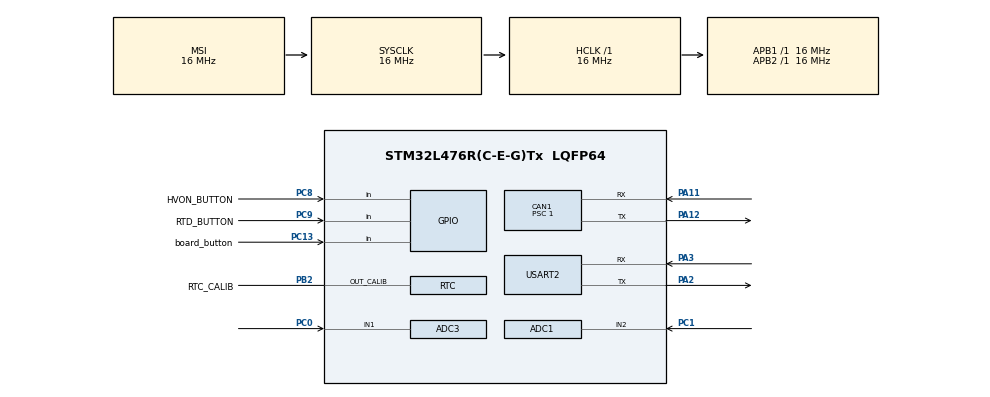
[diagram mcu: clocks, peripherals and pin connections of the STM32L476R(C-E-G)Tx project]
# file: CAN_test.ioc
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ADC1.Channel-0\#ChannelRegularConversion=ADC_CHANNEL_2
ADC1.NbrOfConversionFlag=1
ADC1.OffsetNumber-0\#ChannelRegularConversion=ADC_OFFSET_NONE
ADC1.Rank-0\#ChannelRegularConversion=1
ADC1.Resolution=ADC_RESOLUTION_8B
ADC1.SamplingTime-0\#ChannelRegularConversion=ADC_SAMPLETIME_2CYCLES_5
ADC1.master=1
ADC3.Channel-0\#ChannelRegularConversion=ADC_CHANNEL_1
ADC3.NbrOfConversionFlag=1
ADC3.OffsetNumber-0\#ChannelRegularConversion=ADC_OFFSET_NONE
ADC3.Rank-0\#ChannelRegularConversion=1
ADC3.Resolution=ADC_RESOLUTION_8B
ADC3.SamplingTime-0\#ChannelRegularConversion=ADC_SAMPLETIME_2CYCLES_5
CAN1.BS1=CAN_BS1_13TQ
CAN1.BS2=CAN_BS2_2TQ
CAN1.CalculateBaudRate=1000000
CAN1.CalculateTimeBit=1000.00
CAN1.CalculateTimeQuantum=62.5
CAN1.NART=ENABLE
CAN1.Prescaler=1
Mcu.Family=STM32L4
Mcu.Name=STM32L476R(C-E-G)Tx
Mcu.Package=LQFP64
NVIC.CAN1_RX0_IRQn=true\:0\:0\:false\:false\:true\:true\:true
NVIC.CAN1_RX1_IRQn=true\:0\:0\:false\:false\:true\:true\:true
NVIC.CAN1_SCE_IRQn=true\:0\:0\:false\:false\:true\:true\:true
NVIC.CAN1_TX_IRQn=true\:0\:0\:false\:false\:true\:true\:true
NVIC.PriorityGroup=NVIC_PRIORITYGROUP_4
NVIC.TIM3_IRQn=true\:0\:0\:false\:false\:true\:true\:true
PA11.Mode=CAN_Activate
PA11.Signal=CAN1_RX
PA12.Mode=CAN_Activate
PA12.Signal=CAN1_TX
PA2.Mode=Asynchronous
PA2.Signal=USART2_TX
PA3.Mode=Asynchronous
PA3.Signal=USART2_RX
PB2.GPIO_Label=RTC_CALIB
PB2.Mode=Calibration_512Hz
PB2.Signal=RTC_OUT_CALIB
PC0.Signal=ADCx_IN1
PC1.Signal=ADCx_IN2
PC13.GPIO_Label=board_button
PC13.GPIO_PuPd=GPIO_PULLUP
PC13.Signal=GPIO_Input
PC8.GPIO_Label=HVON_BUTTON
PC8.GPIO_PuPd=GPIO_PULLUP
PC8.Signal=GPIO_Input
PC9.GPIO_Label=RTD_BUTTON
PC9.GPIO_PuPd=GPIO_PULLUP
PC9.Signal=GPIO_Input
ProjectManager.HeapSize=0x200
ProjectManager.StackSize=0x400
ProjectManager.TargetToolchain=STM32CubeIDE
RCC.ADCFreq_Value=64000000
RCC.AHBFreq_Value=16000000
RCC.APB1Freq_Value=16000000
RCC.APB1TimFreq_Value=16000000
RCC.APB2Freq_Value=16000000
RCC.APB2TimFreq_Value=16000000
RCC.CortexFreq_Value=16000000
RCC.HCLKFreq_Value=16000000
RCC.HSE_VALUE=8000000
RCC.HSI_VALUE=16000000
RCC.LSE_VALUE=32768
RCC.MSIClockRange=RCC_MSIRANGE_8
RCC.MSI_VALUE=16000000
RCC.RCC_TIM_PRescaler_Selection=RCC_TIMPRES_DESACTIVATED
RCC.SYSCLKFreq_VALUE=16000000
RCC.USBFreq_Value=64000000
RCC.VCOOutputFreq_Value=128000000
SH.ADCx_IN1.0=ADC3_IN1,IN1-Single-Ended
SH.ADCx_IN2.0=ADC1_IN2,IN2-Single-Ended
TIM3.Channel-Output\ Compare1\ No\ Output=TIM_CHANNEL_1
USART2.VirtualMode-Asynchronous=VM_ASYNC
VP_RTC_VS_RTC_Activate.Mode=RTC_Enabled
VP_TIM3_VS_no_output1.Mode=Output Compare1 No Output
board=custom

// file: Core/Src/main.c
/* USER CODE BEGIN Header */
/**
  ******************************************************************************
  * @file           : main.c
  * @brief          : Main program body
  ******************************************************************************
  * @attention
  *
  * <h2><center>&copy; Copyright (c) 2021 STMicroelectronics.
  * All rights reserved.</center></h2>
  *
  * This software component is licensed by ST under BSD 3-Clause license,
  * the "License"; You may not use this file except in compliance with the
  * License. You may obtain a copy of the License at:
  *                        opensource.org/licenses/BSD-3-Clause
  *
  ******************************************************************************
  */
/* USER CODE END Header */
#include "main.h"
#include "adc.h"
#include "can.h"
#include "rtc.h"
#include "tim.h"
#include "usart.h"
#include "gpio.h"

/* USER CODE BEGIN Includes */
#include "Dragon_CANbus.h"
/* USER CODE END Includes */

/* USER CODE BEGIN PD */
#define hTimer htim3
#define TIM TIM3
/* USER CODE END PD */

/* USER CODE BEGIN PV */
static volatile uint16_t g_HSI_counter;
/* USER CODE END PV */

void SystemClock_Config(void);
/* USER CODE BEGIN PFP */
uint16_t get_HSI_counter() {return g_HSI_counter;}
void reset_HSI_counter() {g_HSI_counter = 0;}
void CANcrit_func_Reset(uint8_t aPayload[])
{
	HAL_NVIC_SystemReset();
}

void HAL_TIM_PeriodElapsedCallback(TIM_HandleTypeDef *htim)
 {
	if(htim == &htim3) //Timer interrupt for frequency measuring
		{
			g_HSI_counter++;
		}
 }

uint8_t get_ADC_data(ADC_HandleTypeDef *hadc)
{
    HAL_ADC_Start(hadc);
    uint16_t conversion_done = 1;
    while(conversion_done) /*checks till the conversion is done*/
    {
        conversion_done = HAL_ADC_PollForConversion(hadc, 1);
    }
    HAL_ADC_Stop(hadc);
    uint8_t adc_value = HAL_ADC_GetValue(hadc);
    return adc_value;
}

/* USER CODE END PFP */

int main(void)
{

  /* MCU Configuration--------------------------------------------------------*/

  /* Reset of all peripherals, Initializes the Flash interface and the Systick. */
  HAL_Init();

  /* Configure the system clock */
  SystemClock_Config();

  /* Initialize all configured peripherals */
  MX_GPIO_Init();
  MX_CAN1_Init();
  MX_USART2_UART_Init();
  MX_ADC3_Init();
  MX_RTC_Init();
  MX_TIM3_Init();
  MX_ADC1_Init();
  /* USER CODE BEGIN 2 */
  CANbus_Init(&hcan1);
    CANbus_FilterInit();
     if (HAL_CAN_Start(&hcan1) != HAL_OK){
       Error_Handler(); /* Start Error */
     }
// SET_BIT(CAN1->MCR, CAN_MCR_ABOM); /*Set the Automatic bus-off management*/
 CAN1bus_SendData(CANcrit_ID_Pedal_status, 1, (CAN_RTR_DATA | CANdef_ALLMSG), 0);
 MODIFY_REG(RCC->ICSCR, RCC_ICSCR_HSITRIM, 17 << RCC_ICSCR_HSITRIM_Pos);
  /* USER CODE END 2 */

  /* Infinite loop */
  /* USER CODE BEGIN WHILE */
  while (1)
  {
    #ifndef _CAN1def_ONLY_INTERRUPT_MODE
        if (HAL_CAN_GetRxFifoFillLevel(&hcan1, CAN_RX_FIFO0) != 0){
            //if message pending in Fifo
          CAN1bus_ReadProcessFIFO0();  //read data
        }
    #endif //_CAN1def_ONLY_INTERRUPT_MODE
    #ifdef _DUAL_CAN_ACTIVATE
    #ifndef _CAN2def_ONLY_INTERRUPT_MODE
        if (HAL_CAN_GetRxFifoFillLevel(&hcan3, CAN_RX_FIFO0) != 0){
            //if message pending in Fifo
          CAN2bus_ReadProcessFIFO0();  //read data
        }
    #endif //_CAN2def_ONLY_INTERRUPT_MODE
    #endif  //_DUAL_CAN_ACTIVATE

      static uint8_t esp_on[] = {0};
      static uint32_t last_time = 0;
      static uint32_t last_time_start_button = 0;
      uint16_t delay = 30;
      uint16_t start_button_delay = 2000;
      static uint8_t ts_on[] = {0};
      static uint32_t hvon_last_time = 0;
      static uint32_t rtd_last_time = 0;

      if (!HAL_GPIO_ReadPin(RTD_BUTTON_GPIO_Port, RTD_BUTTON_Pin) && (HAL_GetTick() >= rtd_last_time + 200) && ts_on[0])
      {
          esp_on[0] = !esp_on[0];
          CAN1bus_SendData(CANcrit_ID_Esp_status, 1, (CAN_RTR_DATA | CANdef_ALLMSG), esp_on);
          rtd_last_time = HAL_GetTick();
      }

      if (!HAL_GPIO_ReadPin(HVON_BUTTON_GPIO_Port, HVON_BUTTON_Pin) && (HAL_GetTick() >= hvon_last_time + 200))
      {
          ts_on[0] = !ts_on[0];
          hvon_last_time = HAL_GetTick();
          if(!ts_on[0])
          {
              esp_on[0] = 0;
          }
      }
      CAN1bus_SendData(CANcrit_ID_TS_on, 1, (CAN_RTR_DATA | CANdef_ALLMSG), ts_on);
      CAN1bus_SendData(CANcrit_ID_Esp_status, 1, (CAN_RTR_DATA | CANdef_ALLMSG), esp_on);

      if(HAL_GetTick() >= last_time + delay)
      {
          uint8_t brake_pos = get_ADC_data(&hadc1);
          uint8_t throttle_pos = get_ADC_data(&hadc3);
          uint8_t pedal_pos_data[] = {throttle_pos, brake_pos, 0};
          uint8_t ams_status[] = {22, 33};
          uint8_t max_cell_temp[] = {3};
          uint8_t avg_cell_temp[] = {2};
          uint8_t min_cell_temp[] = {1};

          CAN1bus_SendData(CANcrit_ID_Pedal_status, 1, (CAN_RTR_DATA | CANdef_ALLMSG), esp_on);
          CAN1bus_SendData(CANcrit_ID_Pedal_position, 3, (CAN_RTR_DATA | CANdef_ALLMSG), pedal_pos_data);
          CAN1bus_SendData(CANcrit_ID_Ams_status, 2, (CAN_RTR_DATA | CANdef_ALLMSG), ams_status);
          CAN1bus_SendData(CANcrit_ID_TS_on, 1, (CAN_RTR_DATA | CANdef_ALLMSG), ts_on);
          CAN1bus_SendData(CANcrit_ID_Max_cell_temp, 1, (CAN_RTR_DATA | CANdef_ALLMSG), max_cell_temp);
          CAN1bus_SendData(CANcrit_ID_Avg_cell_temp, 1, (CAN_RTR_DATA | CANdef_ALLMSG), avg_cell_temp);
          CAN1bus_SendData(CANcrit_ID_Min_cell_temp, 1, (CAN_RTR_DATA | CANdef_ALLMSG), min_cell_temp);
          CAN1bus_SendData(CANcrit_ID_Esp_status, 1, (CAN_RTR_DATA | CANdef_ALLMSG), esp_on);
          if (HAL_GetTick() >= last_time_start_button + start_button_delay)
          {
              CAN1bus_SendData(CANcrit_ID_Battery_fan_percent, 1, (CAN_RTR_DATA | CANdef_ALLMSG), min_cell_temp);
              last_time_start_button = HAL_GetTick();
          }
          last_time = HAL_GetTick();
      }

    /* USER CODE END WHILE */

  }
}

void SystemClock_Config(void)
{
  RCC_OscInitTypeDef RCC_OscInitStruct = {0};
  RCC_ClkInitTypeDef RCC_ClkInitStruct = {0};
  RCC_PeriphCLKInitTypeDef PeriphClkInit = {0};

  /** Initializes the RCC Oscillators according to the specified parameters
  * in the RCC_OscInitTypeDef structure.
  */
  RCC_OscInitStruct.OscillatorType = RCC_OSCILLATORTYPE_LSI|RCC_OSCILLATORTYPE_MSI;
  RCC_OscInitStruct.LSIState = RCC_LSI_ON;
  RCC_OscInitStruct.MSIState = RCC_MSI_ON;
  RCC_OscInitStruct.MSICalibrationValue = 0;
  RCC_OscInitStruct.MSIClockRange = RCC_MSIRANGE_8;
  RCC_OscInitStruct.PLL.PLLState = RCC_PLL_NONE;
  if (HAL_RCC_OscConfig(&RCC_OscInitStruct) != HAL_OK)
  {
    Error_Handler();
  }
  /** Initializes the CPU, AHB and APB buses clocks
  */
  RCC_ClkInitStruct.ClockType = RCC_CLOCKTYPE_HCLK|RCC_CLOCKTYPE_SYSCLK
                              |RCC_CLOCKTYPE_PCLK1|RCC_CLOCKTYPE_PCLK2;
  RCC_ClkInitStruct.SYSCLKSource = RCC_SYSCLKSOURCE_MSI;
  RCC_ClkInitStruct.AHBCLKDivider = RCC_SYSCLK_DIV1;
  RCC_ClkInitStruct.APB1CLKDivider = RCC_HCLK_DIV1;
  RCC_ClkInitStruct.APB2CLKDivider = RCC_HCLK_DIV1;

  if (HAL_RCC_ClockConfig(&RCC_ClkInitStruct, FLASH_LATENCY_0) != HAL_OK)
  {
    Error_Handler();
  }
  PeriphClkInit.PeriphClockSelection = RCC_PERIPHCLK_RTC|RCC_PERIPHCLK_USART2
                              |RCC_PERIPHCLK_ADC;
  PeriphClkInit.Usart2ClockSelection = RCC_USART2CLKSOURCE_PCLK1;
  PeriphClkInit.AdcClockSelection = RCC_ADCCLKSOURCE_PLLSAI1;
  PeriphClkInit.RTCClockSelection = RCC_RTCCLKSOURCE_LSI;
  PeriphClkInit.PLLSAI1.PLLSAI1Source = RCC_PLLSOURCE_MSI;
  PeriphClkInit.PLLSAI1.PLLSAI1M = 1;
  PeriphClkInit.PLLSAI1.PLLSAI1N = 8;
  PeriphClkInit.PLLSAI1.PLLSAI1P = RCC_PLLP_DIV7;
  PeriphClkInit.PLLSAI1.PLLSAI1Q = RCC_PLLQ_DIV2;
  PeriphClkInit.PLLSAI1.PLLSAI1R = RCC_PLLR_DIV2;
  PeriphClkInit.PLLSAI1.PLLSAI1ClockOut = RCC_PLLSAI1_ADC1CLK;
  if (HAL_RCCEx_PeriphCLKConfig(&PeriphClkInit) != HAL_OK)
  {
    Error_Handler();
  }
  /** Configure the main internal regulator output voltage
  */
  if (HAL_PWREx_ControlVoltageScaling(PWR_REGULATOR_VOLTAGE_SCALE1) != HAL_OK)
  {
    Error_Handler();
  }
}

void Error_Handler(void)
{
  __disable_irq();
  while (1)
  {
  }
}

/************************ (C) COPYRIGHT STMicroelectronics *****END OF FILE****/
